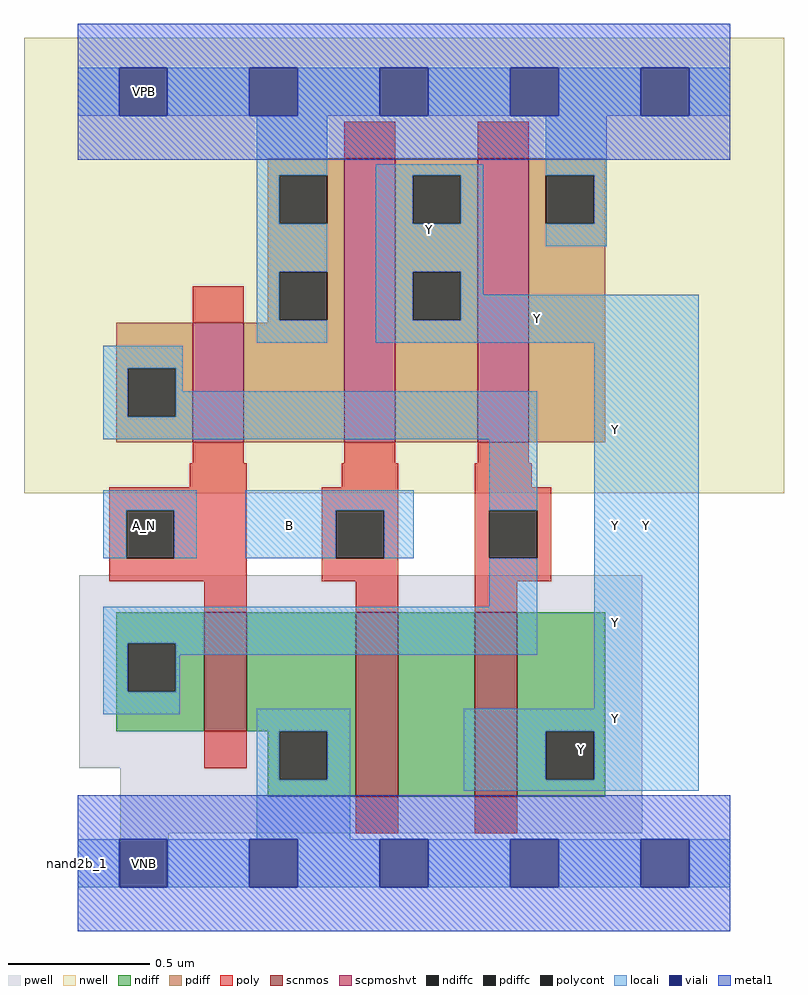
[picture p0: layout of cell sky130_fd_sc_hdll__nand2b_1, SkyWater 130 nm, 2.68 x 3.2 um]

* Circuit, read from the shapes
.subckt sky130_fd_sc_hdll__nand2b_1 A_N B VGND VNB VPB VPWR Y
XM1 VGND A_N n1 VNB sky130_fd_pr__nfet_01v8 w=0.42 l=0.15
XM2 n2 B VGND VNB sky130_fd_pr__nfet_01v8 w=0.65 l=0.15
XM3 Y n1 n2 VNB sky130_fd_pr__nfet_01v8 w=0.65 l=0.15
XM4 VPWR A_N n1 VPB sky130_fd_pr__pfet_01v8_hvt w=0.42 l=0.18
XM5 Y B VPWR VPB sky130_fd_pr__pfet_01v8_hvt w=1 l=0.18
XM6 VPWR n1 Y VPB sky130_fd_pr__pfet_01v8_hvt w=1 l=0.18
.ends

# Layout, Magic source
magic
tech sky130A
magscale 1 2
<< nwell >>
rect -38 261 498 582
<< pwell >>
rect 1 67 398 203
rect 30 21 398 67
rect 30 -17 64 21
<< scnmos >>
rect 89 93 119 177
rect 196 47 226 177
rect 280 47 310 177
<< scpmoshvt >>
rect 81 297 117 381
rect 188 297 224 497
rect 282 297 318 497
<< ndiff >>
rect 27 155 89 177
rect 27 121 35 155
rect 69 121 89 155
rect 27 93 89 121
rect 119 93 196 177
rect 134 59 142 93
rect 176 59 196 93
rect 134 47 196 59
rect 226 47 280 177
rect 310 93 372 177
rect 310 59 330 93
rect 364 59 372 93
rect 310 47 372 59
<< pdiff >>
rect 134 485 188 497
rect 134 451 142 485
rect 176 451 188 485
rect 134 417 188 451
rect 134 383 142 417
rect 176 383 188 417
rect 134 381 188 383
rect 27 349 81 381
rect 27 315 35 349
rect 69 315 81 349
rect 27 297 81 315
rect 117 297 188 381
rect 224 485 282 497
rect 224 451 236 485
rect 270 451 282 485
rect 224 417 282 451
rect 224 383 236 417
rect 270 383 282 417
rect 224 297 282 383
rect 318 485 372 497
rect 318 451 330 485
rect 364 451 372 485
rect 318 297 372 451
<< ndiffc >>
rect 35 121 69 155
rect 142 59 176 93
rect 330 59 364 93
<< pdiffc >>
rect 142 451 176 485
rect 142 383 176 417
rect 35 315 69 349
rect 236 451 270 485
rect 236 383 270 417
rect 330 451 364 485
<< poly >>
rect 188 497 224 523
rect 282 497 318 523
rect 81 381 117 407
rect 81 282 117 297
rect 188 282 224 297
rect 282 282 318 297
rect 79 265 119 282
rect 186 265 226 282
rect 22 249 119 265
rect 22 215 34 249
rect 68 215 119 249
rect 22 199 119 215
rect 172 249 226 265
rect 172 215 182 249
rect 216 215 226 249
rect 172 199 226 215
rect 89 177 119 199
rect 196 177 226 199
rect 280 265 320 282
rect 280 249 334 265
rect 280 215 290 249
rect 324 215 334 249
rect 280 199 334 215
rect 280 177 310 199
rect 89 67 119 93
rect 196 21 226 47
rect 280 21 310 47
<< polycont >>
rect 34 215 68 249
rect 182 215 216 249
rect 290 215 324 249
<< locali >>
rect 0 527 29 561
rect 63 527 121 561
rect 155 527 213 561
rect 247 527 305 561
rect 339 527 397 561
rect 431 527 460 561
rect 126 485 176 527
rect 126 451 142 485
rect 126 417 176 451
rect 126 383 142 417
rect 126 367 176 383
rect 210 485 286 493
rect 210 451 236 485
rect 270 451 286 485
rect 210 417 286 451
rect 330 485 373 527
rect 364 451 373 485
rect 330 435 373 451
rect 210 383 236 417
rect 270 401 286 417
rect 270 383 438 401
rect 210 367 438 383
rect 18 349 74 365
rect 18 315 35 349
rect 69 333 74 349
rect 69 315 324 333
rect 18 299 324 315
rect 18 249 84 263
rect 18 215 34 249
rect 68 215 84 249
rect 118 249 237 263
rect 118 215 182 249
rect 216 215 237 249
rect 290 249 324 299
rect 290 181 324 215
rect 18 155 324 181
rect 18 121 35 155
rect 69 147 324 155
rect 69 121 72 147
rect 18 105 72 121
rect 364 109 438 367
rect 126 93 192 109
rect 126 59 142 93
rect 176 59 192 93
rect 126 17 192 59
rect 272 93 438 109
rect 272 59 330 93
rect 364 59 438 93
rect 272 51 438 59
rect 0 -17 29 17
rect 63 -17 121 17
rect 155 -17 213 17
rect 247 -17 305 17
rect 339 -17 397 17
rect 431 -17 460 17
<< viali >>
rect 29 527 63 561
rect 121 527 155 561
rect 213 527 247 561
rect 305 527 339 561
rect 397 527 431 561
rect 29 -17 63 17
rect 121 -17 155 17
rect 213 -17 247 17
rect 305 -17 339 17
rect 397 -17 431 17
<< metal1 >>
rect 0 561 460 592
rect 0 527 29 561
rect 63 527 121 561
rect 155 527 213 561
rect 247 527 305 561
rect 339 527 397 561
rect 431 527 460 561
rect 0 496 460 527
rect 0 17 460 48
rect 0 -17 29 17
rect 63 -17 121 17
rect 155 -17 213 17
rect 247 -17 305 17
rect 339 -17 397 17
rect 431 -17 460 17
rect 0 -48 460 -17
<< labels >>
flabel locali s 364 109 438 367 0 FreeSans 250 0 0 0 Y
port 7 nsew signal output
flabel locali s 379 306 379 306 0 FreeSans 250 0 0 0 Y
port 7 nsew
flabel locali s 379 102 379 102 0 FreeSans 250 0 0 0 Y
port 7 nsew
flabel locali s 379 238 379 238 0 FreeSans 250 0 0 0 Y
port 7 nsew
flabel locali s 379 170 379 170 0 FreeSans 250 0 0 0 Y
port 7 nsew
flabel locali s 30 221 64 255 0 FreeSans 250 0 0 0 A_N
port 1 nsew signal input
flabel locali s 132 221 166 255 0 FreeSans 250 0 0 0 B
port 2 nsew signal input
flabel nwell s 30 527 64 561 0 FreeSans 200 0 0 0 VPB
port 5 nsew power bidirectional
flabel pwell s 30 -17 64 17 0 FreeSans 200 0 0 0 VNB
port 4 nsew ground bidirectional
flabel metal1 s 30 -17 64 17 0 FreeSans 200 0 0 0 VGND
port 3 nsew ground bidirectional
flabel metal1 s 30 527 64 561 0 FreeSans 200 0 0 0 VPWR
port 6 nsew power bidirectional
rlabel comment s 0 0 0 0 4 nand2b_1
rlabel locali s 272 51 438 109 1 Y
port 7 nsew signal output
rlabel locali s 210 401 286 493 1 Y
port 7 nsew signal output
rlabel locali s 210 367 438 401 1 Y
port 7 nsew signal output
<< properties >>
string LEFsite unithd
string LEFclass CORE
string FIXED_BBOX 0 0 460 544
string GDS_FILE $PDKPATH/libs.ref/sky130_fd_sc_hdll/gds/sky130_fd_sc_hdll.gds
string LEFsymmetry X Y R90
string GDS_END 2207448
string GDS_START 2202854
string LEFproperties maskLayoutSubType "abstract" prCellType "standard" originalViewName "layout"
<< end >>
